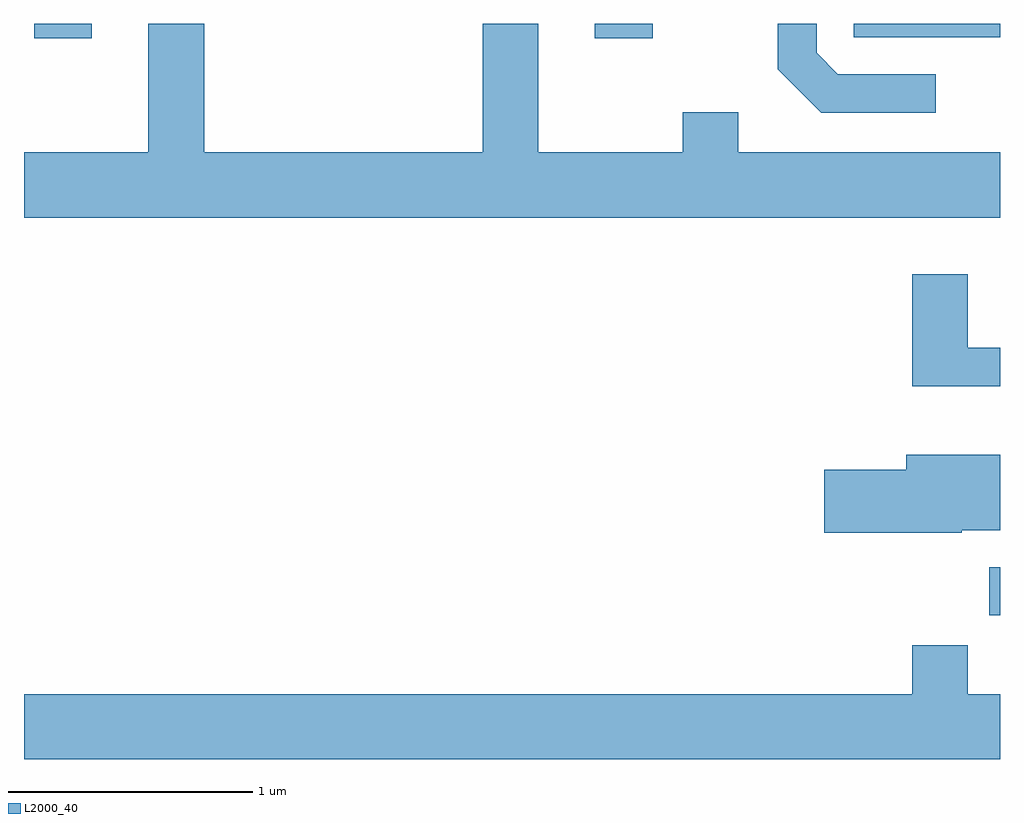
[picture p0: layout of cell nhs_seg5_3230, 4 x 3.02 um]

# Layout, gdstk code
import gdstk
lib = gdstk.Library(unit=1e-6, precision=1e-09)
def R(c, l, rs):  # rectangles x0, y0, x1, y1
    for r in rs: c.add(gdstk.rectangle(r[:2], r[2:], *l))
def P(c, l, *ps):  # polygons
    for p in ps: c.add(gdstk.Polygon(p, *l))
L2000_40 = (2000, 40)

nhs_seg5_3230 = lib.new_cell('nhs_seg5_3230')
R(nhs_seg5_3230, L2000_40, [(285.566,1419.646,285.611,1419.844), (281.653,1422.011,281.889,1422.072), (283.951,1422.011,284.188,1422.072), (285.011,1422.016,285.611,1422.072)])
P(nhs_seg5_3230, L2000_40, [(285.611,1421.544),(284.539,1421.544),(284.539,1421.709),(284.311,1421.709),(284.311,1421.544),(283.719,1421.544),(283.719,1422.072),(283.491,1422.072),(283.491,1421.544),(282.349,1421.544),(282.349,1422.072),(282.121,1422.072),(282.121,1421.544),(281.611,1421.544),(281.611,1421.276),(285.611,1421.276)],
  [(285.348,1421.864),(284.947,1421.864),(284.859,1421.952),(284.859,1422.072),(284.701,1422.072),(284.701,1421.884),(284.879,1421.706),(285.348,1421.706)],
  [(285.611,1420.744),(285.479,1420.744),(285.479,1421.044),(285.251,1421.044),(285.251,1420.586),(285.611,1420.586)],
  [(285.455,1419.996),(285.611,1419.996),(285.611,1420.304),(285.226,1420.304),(285.226,1420.244),(284.891,1420.244),(284.891,1419.986),(285.455,1419.986)],
  [(285.611,1419.324),(285.479,1419.324),(285.479,1419.524),(285.251,1419.524),(285.251,1419.324),(281.611,1419.324),(281.611,1419.056),(285.611,1419.056)])

lib.write_gds('nhs_seg5_3230.gds')
